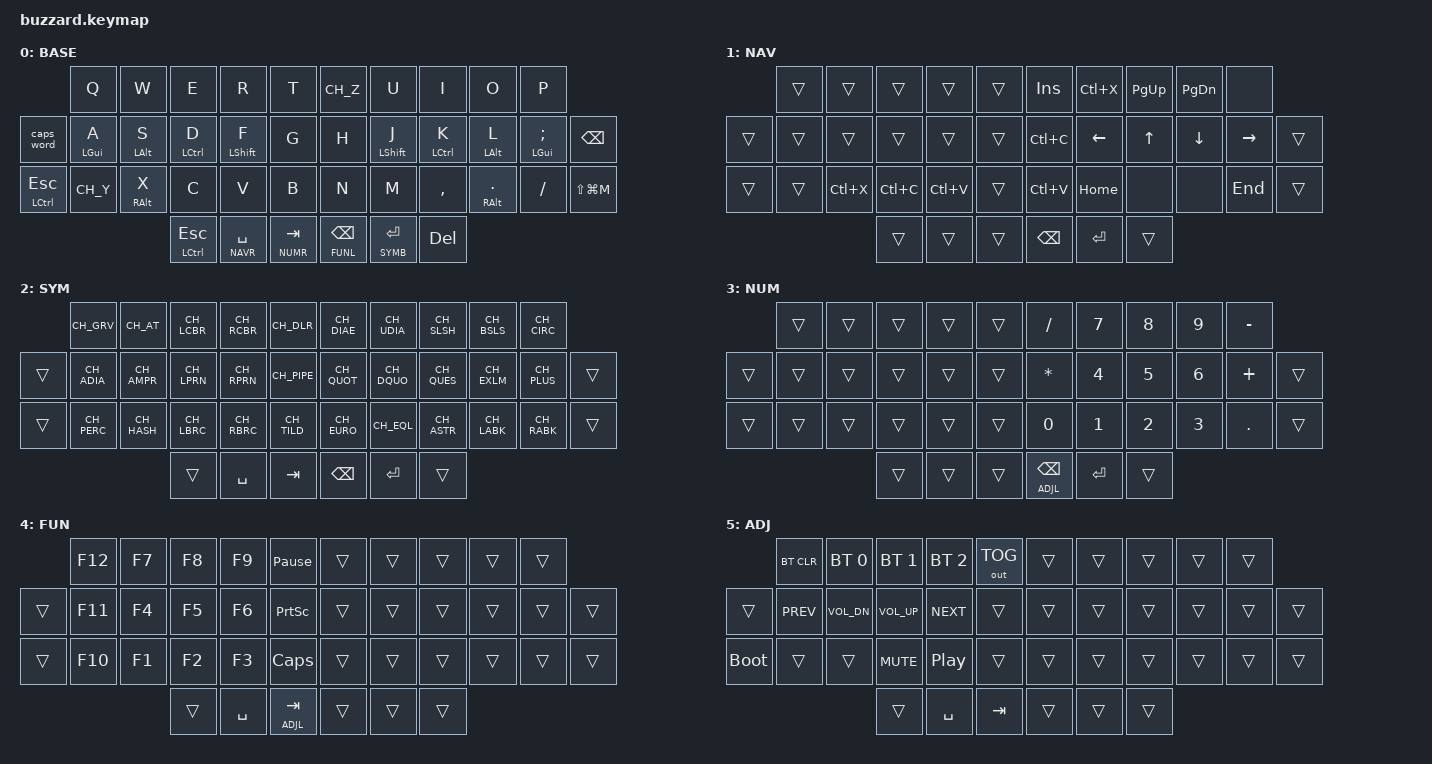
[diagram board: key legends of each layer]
/*
 * Copyright (c) 2021 The ZMK Contributors
 *
 * SPDX-License-Identifier: MIT
 */

#include <behaviors.dtsi>
#include <dt-bindings/zmk/keys.h>
#include <dt-bindings/zmk/bt.h>
#include <dt-bindings/zmk/ext_power.h>
#include <dt-bindings/zmk/outputs.h>

#include "swiss-keymap.h"

#define BASE   0
#define NAVR   1
#define SYMB   2
#define NUMR   3
#define FUNL   4
#define ADJL   5    

/ {
	behaviors {
        hm: homerow_mods {
            compatible = "zmk,behavior-hold-tap";
            label = "HOMEROW_MODS";
            #binding-cells = <2>;
            tapping-term-ms = <280>;
            quick_tap_ms = <0>;
            flavor = "tap-preferred";
            bindings = <&kp>, <&kp>;
        };
    };
// /*
//  *
//  *               ,------------------------.                                ,------------------------.
//  *               | 00 | 01 | 02 | 03 | 04 |                                | 05 | 06 | 07 | 08 | 09 |      
//  *          ,----+----+----+----+----+----|                                |----+----+----+----+----+----.
//  *          | 10 | 11 | 12 | 13 | 14 | 15 |                                | 16 | 17 | 18 | 19 | 20 | 21 |
//  *          |----+----+----+----+----+----|                                |----+----+----+----+----+----|
//  *          | 22 | 23 | 24 | 25 | 26 | 27 |                                | 28 | 29 | 30 | 31 | 32 | 33 |
//  *          `------------------------+----+---------.            ,----+----+-----------------------------'
//  *                                   | 34 | 35 | 36 |            | 37 | 38 | 39 |
//  *                                   `--------------'            `--------------'
//  */
    combos {
        compatible = "zmk,combos";
        combo_ctrl_t {
            timeout-ms = <50>;
            key-positions = <4 15>;
            bindings = <&kp LC(T)>;
        };
        combo_ctrl_z {
            timeout-ms = <50>;
            key-positions = <5 16>;
            bindings = <&kp LC(CH_Z)>;
        };
        combo_delete_left {
            timeout-ms = <50>;
            key-positions = <2 13>;
            bindings = <&kp DEL>;
        };
        combo_enter_left {
            timeout-ms = <50>;
            key-positions = <3 14>;
            bindings = <&kp ENTER>;
        };
    };
    keymap {
        compatible = "zmk,keymap";
        base {
            label = "BASE";
// /*
//  * Base Layer
//  *
//  *                 ,----------------------------------.                                               ,----------------------------------.
//  *                 |   Q  |   W  |   E  |   R  |   T  |                                               |   Y  |   U  |   I  |   O  |   P  |      
//  *                 |      |      |      |      |      |                                               |      |      |      |      |      |      
//  *          ,------+------+------+------+------+------|                                               |------+------+------+------+------+------.
//  *          | Caps |   A  |   S  |   D  |   F  |   G  |                                               |   H  |   J  |   K  |   L  |  ; : | Bksp |
//  *          | Word |  GUI | LALT | LCTL | LSFT |      |                                               |      | LSFT | LCTL |  ALT |  GUI |      |
//  *          |------+------+------+------+------+------|                                               |------+------+------+------+------+------|
//  *          |  ESC |   Z  |   X  |   C  |   V  |   B  |                                               |   N  |   M  |  , < |  . > |  / ? | Mute |
//  *          |  CTL |      | RALT |      |      |      |                                               |      |      |      | RALT |      | Mic  |
//  *          `----------------------------------+------+-------------.                   ,-------------+------+----------------------------------'
//  *                                             |  ESC | Space| TAB  |                   | Bksp | Enter| Del  |
//  *                                             |  CTL | NAVR | NUMR |                   | FUNL | SYML |      |
//  *                                             `--------------------'                   `--------------------'
//  */
            bindings = <
                    &kp Q         &kp W        &kp E            &kp R          &kp T             &kp CH_Z      &kp U        &kp I        &kp O        &kp P 
    &caps_word      &hm LGUI A    &hm LALT S   &hm LCTRL D      &hm LSHFT F    &kp G             &kp H         &hm LSHFT J  &hm LCTRL K  &hm LALT L   &hm LGUI SEMI &kp BSPC
    &mt LCTRL ESC   &kp CH_Y      &hm RALT X   &kp C            &kp V          &kp B             &kp N         &kp M        &kp COMMA    &hm RALT DOT &kp FSLH      &kp LS(LG(M))
                                               &mt LCTRL ESC    &lt NAVR SPACE &lt NUMR TAB      &lt FUNL BSPC &lt SYMB RET &kp DEL
            >;

        };

        navr {
            label = "NAV";
// /*
//  * Navigation Layer (Right)
//  *
//  *                 ,----------------------------------.                                               ,----------------------------------.
//  *                 |      |      |      |      |      |                                               |Insert| Cut  | PgUp | PgDn |      |      
//  *                 |      |      |      |      |      |                                               |      |      |      |      |      |      
//  *          ,------+------+------+------+------+------|                                               |------+------+------+------+------+------.
//  *          |      |      |      |      |      |      |                                               | Copy |   ←  |   ↑  |   ↓  |   →  |      |
//  *          |      |      |      |      |      |      |                                               |      |      |      |      |      |      |
//  *          |------+------+------+------+------+------|                                               |------+------+------+------+------+------|
//  *          |      |      |  Cut | Copy | Paste|      |                                               | Paste| Home | WH_U | WH_D | End  |      |
//  *          |      |      |      |      |      |      |                                               |      |      |      |      |      |      |
//  *          `----------------------------------+------+-------------.                   ,-------------+------+----------------------------------'
//  *                                             |      |      |      |                   | Bksp | Enter|      |
//  *                                             |      |      |      |                   |      |      |      |
//  *                                             `--------------------'                   `--------------------'
//  */
            bindings = <
                      &trans    &trans    &trans    &trans     &trans            &kp INS     &kp LC(X)  &kp PG_UP  &kp PG_DN  &none
            &trans    &trans    &trans    &trans    &trans     &trans            &kp LC(C)   &kp LEFT   &kp UP     &kp DOWN   &kp RIGHT  &trans
            &trans    &trans    &kp LC(X) &kp LC(C) &kp LC(V)  &trans            &kp LC(V)   &kp HOME   &none      &none      &kp END    &trans
                                          &trans    &trans     &trans            &kp BSPC    &kp RET    &trans
            >;
        };

        symr {
            label = "SYM";
// /*
//  * Symbol Layer
//  *
//  *                 ,----------------------------------.                                               ,----------------------------------.
//  *                 |   `  |   @  |   {  |   }  |   $  |                                               |   ¨  |   ü  |   /  |   \  |   ^  |      
//  *                 |      |      |      |      |      |                                               |      |      |      |      |      |      
//  *          ,------+------+------+------+------+------|                                               |------+------+------+------+------+------.
//  *          |      |   ä  |   &  |   (  |   )  |   |  |                                               |   '  |   "  |   ?  |   !  |   +  |      |
//  *          |      |      |      |      |      |      |                                               |      |      |      |      |      |      |
//  *          |------+------+------+------+------+------|                                               |------+------+------+------+------+------|
//  *          |      |   %  |   #  |   [  |   ]  |   ~  |                                               |   €  |   =  |   *  |   <  |   >  |      |
//  *          |      |      |      |      |      |      |                                               |      |      |      |      |      |      |
//  *          `----------------------------------+------+-------------.                   ,-------------+------+----------------------------------'
//  *                                             |      | SPACE| TAB  |                   |      |      |      |
//  *                                             |      |      |      |                   |      |      |      |
//  *                                             `--------------------'                   `--------------------'
//  */
            bindings = <
                      &kp CH_GRV  &kp CH_AT   &kp CH_LCBR &kp CH_RCBR &kp CH_DLR       &kp CH_DIAE &kp CH_UDIA &kp CH_SLSH &kp CH_BSLS &kp CH_CIRC
             &trans   &kp CH_ADIA &kp CH_AMPR &kp CH_LPRN &kp CH_RPRN &kp CH_PIPE      &kp CH_QUOT &kp CH_DQUO &kp CH_QUES &kp CH_EXLM &kp CH_PLUS &trans
             &trans   &kp CH_PERC &kp CH_HASH &kp CH_LBRC &kp CH_RBRC &kp CH_TILD      &kp CH_EURO &kp CH_EQL  &kp CH_ASTR &kp CH_LABK &kp CH_RABK &trans
                                              &trans      &kp SPACE   &kp TAB          &kp BSPC    &kp RET     &trans
            >;
        };

        numr {
            label = "NUM";
// /*
//  * Number Layer (Right)
//  *
//  *                 ,----------------------------------.                                               ,----------------------------------.
//  *                 |      |      |      |      |      |                                               |   /  |   7  |   8  |   9  |  -   |      
//  *                 |      |      |      |      |      |                                               |      |      |      |      |      |      
//  *          ,------+------+------+------+------+------|                                               |------+------+------+------+------+------.
//  *          |      |      |      |      |      |      |                                               |   *  |   4  |   5  |  6   |  +   |      |
//  *          |      |      |      |      |      |      |                                               |      |      |      |      |      |      |
//  *          |------+------+------+------+------+------|                                               |------+------+------+------+------+------|
//  *          |      |      |      |      |      |      |                                               |   0  |   1  |   2  |  3   |  .   |      |
//  *          |      |      |      |      |      |      |                                               |      |      |      |      |      |      |
//  *          `----------------------------------+------+-------------.                   ,-------------+------+----------------------------------'
//  *                                             |      |      |      |                   |  DEL | Enter|      |
//  *                                             |      |      |      |                   |  ADJ |      |      |
//  *                                             `--------------------'                   `--------------------'
//  */
            bindings = <
                      &trans    &trans    &trans    &trans    &trans            &kp SLASH      &kp N7    &kp N8    &kp N9    &kp MINUS
            &trans    &trans    &trans    &trans    &trans    &trans            &kp ASTRK      &kp N4    &kp N5    &kp N6    &kp PLUS   &trans
            &trans    &trans    &trans    &trans    &trans    &trans            &kp N0         &kp N1    &kp N2    &kp N3    &kp DOT    &trans
                                          &trans    &trans    &trans            &lt ADJL BSPC  &kp RET   &trans
            >;
        };

        funl {
            label = "FUN";
// /*
//  * Function Layer (Left)
//  *
//  *                 ,----------------------------------.                                               ,----------------------------------.
//  *                 |  F12 |  F7  |  F8  |  F9  | Pause|                                               |      |      |      |      |      |      
//  *                 |      |      |      |      |      |                                               |      |      |      |      |      |      
//  *          ,------+------+------+------+------+------|                                               |------+------+------+------+------+------.
//  *          |      |  F11 |  F4  |  F5  |  F6  | PrScr|                                               |      |      |      |      |      |      |
//  *          |      |      |      |      |      |      |                                               |      |      |      |      |      |      |
//  *          |------+------+------+------+------+------|                                               |------+------+------+------+------+------|
//  *          |      |  F10 |  F1  |  F2  |  F3  | CapsL|                                               |      |      |      |      |      |      |
//  *          |      |      |      |      |      |      |                                               |      |      |      |      |      |      |
//  *          `----------------------------------+------+-------------.                   ,-------------+------+----------------------------------'
//  *                                             |      | Space|  TAB |                   |      |      |      |
//  *                                             |      |      |      |                   |      |      |      |
//  *                                             `--------------------'                   `--------------------'
//  */
            bindings = <
                      &kp F12    &kp F7   &kp F8   &kp F9    &kp PAUSE_BREAK         &trans    &trans    &trans    &trans    &trans  
             &trans   &kp F11    &kp F4   &kp F5   &kp F6    &kp PSCRN               &trans    &trans    &trans    &trans    &trans    &trans
             &trans   &kp F10    &kp F1   &kp F2   &kp F3    &kp CLCK                &trans    &trans    &trans    &trans    &trans    &trans
                                          &trans   &kp SPACE &lt ADJL TAB            &trans    &trans    &trans
            >;
        };

        adjl {
            label = "ADJ";
// /*
//  * Adjustment Layer (Left)
//  *
//  *                 ,----------------------------------.                                               ,----------------------------------.
//  *                 |BT_CLR| BT 0 | BT 1 | BT 2 | OutTg|                                               |      |      |      |      |      |      
//  *                 |      |      |      |      |      |                                               |      |      |      |      |      |      
//  *          ,------+------+------+------+------+------|                                               |------+------+------+------+------+------.
//  *          |      |M Prev| VolDn| VolUp|M Next|      |                                               |      |      |      |      |      |      |
//  *          |      |      |      |      |      |      |                                               |      |      |      |      |      |      |
//  *          |------+------+------+------+------+------|                                               |------+------+------+------+------+------|
//  *          | Boot |      |      | Mute | Play |      |                                               |      |      |      |      |      |      |
//  *          |      |      |      |      |      |      |                                               |      |      |      |      |      |      |
//  *          `----------------------------------+------+-------------.                   ,-------------+------+----------------------------------'
//  *                                             |      | Space| TAB  |                   |      |      |      |
//  *                                             |      |      |      |                   |      |      |      |
//  *                                             `--------------------'                   `--------------------'
//  */
            bindings = <
                            &bt BT_CLR &bt BT_SEL 0 &bt BT_SEL 1 &bt BT_SEL 2 &out OUT_TOG            &trans    &trans    &trans    &trans    &trans  
             &trans         &kp C_PREV &kp C_VOL_DN &kp C_VOL_UP &kp C_NEXT   &trans                  &trans    &trans    &trans    &trans    &trans    &trans
             &bootloader    &trans     &trans       &kp K_MUTE   &kp C_PP     &trans                  &trans    &trans    &trans    &trans    &trans    &trans
                                                    &trans       &kp SPACE    &kp TAB                 &trans    &trans    &trans
            >;
        };
    };
};

// -------------------------------------------------------- TEMPLATE -------------------------------------------------------------------------------------
// /*
//  * Layer
//  *
//  *                 ,----------------------------------.                                               ,----------------------------------.
//  *                 |      |      |      |      |      |                                               |      |      |      |      |      |      
//  *                 |      |      |      |      |      |                                               |      |      |      |      |      |      
//  *          ,------+------+------+------+------+------|                                               |------+------+------+------+------+------.
//  *          |      |      |      |      |      |      |                                               |      |      |      |      |      |      |
//  *          |      |      |      |      |      |      |                                               |      |      |      |      |      |      |
//  *          |------+------+------+------+------+------|                                               |------+------+------+------+------+------|
//  *          |      |      |      |      |      |      |                                               |      |      |      |      |      |      |
//  *          |      |      |      |      |      |      |                                               |      |      |      |      |      |      |
//  *          `----------------------------------+------+-------------.                   ,-------------+------+----------------------------------'
//  *                                             |      |      |      |                   |      |      |      |
//  *                                             |      |      |      |                   |      |      |      |
//  *                                             `--------------------'                   `--------------------'
//  */
